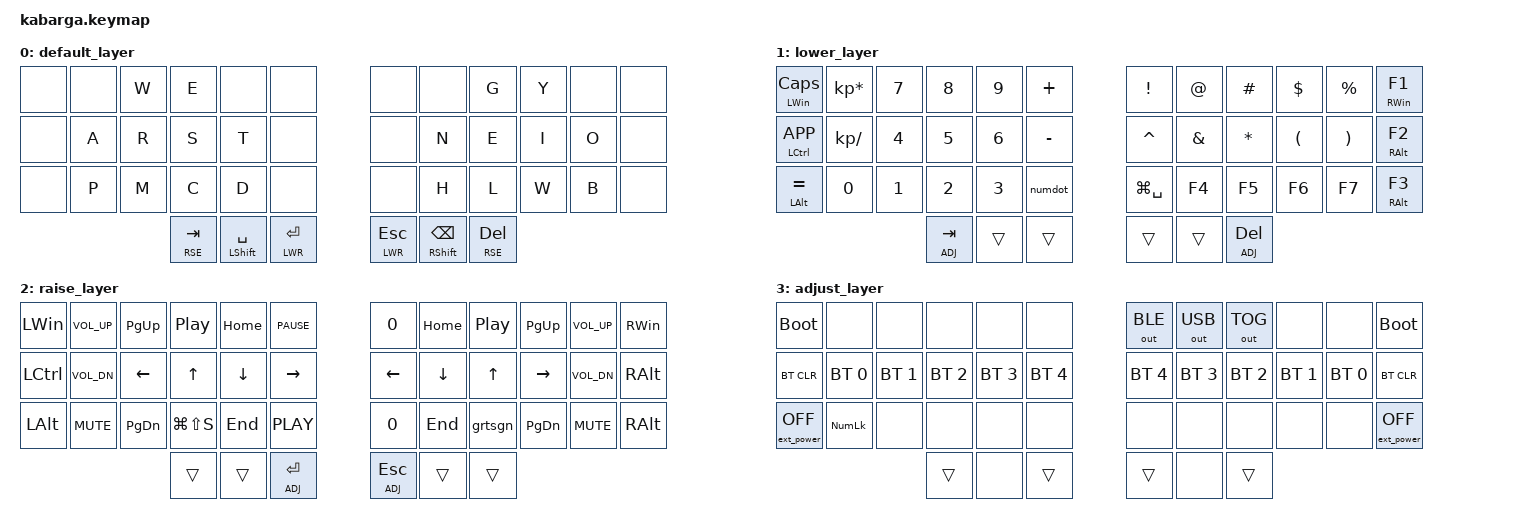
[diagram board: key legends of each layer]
#include <behaviors.dtsi>
#include <dt-bindings/zmk/keys.h>
#include <dt-bindings/zmk/bt.h>
#include <dt-bindings/zmk/outputs.h>
#include <dt-bindings/zmk/ext_power.h>
 
#define DEF 0
#define LWR 1
#define RSE 2
#define ADJ 3

&lt { quick_tap_ms = <220>; };
&mt { quick_tap_ms = <220>; };

/ {
    macros {
        numdot: numdot {
            label = "ZM_numdot";
            compatible = "zmk,behavior-macro";
            #binding-cells = <0>;
            wait-ms = <40>;
            tap-ms = <40>;
            bindings
                = <&macro_press   &kp LALT>    
                , <&macro_tap     &kp KP_N4 &kp KP_N6>    
                , <&macro_release &kp LALT>
                ;
        };
        grtsgn: grtsgn {
            label = "ZM_grtsgn";
            compatible = "zmk,behavior-macro";
            #binding-cells = <0>;
            wait-ms = <40>;
            tap-ms = <40>;
            bindings
                = <&macro_press   &kp LALT>    
                , <&macro_tap     &kp KP_N6 &kp KP_N2>    
                , <&macro_release &kp LALT>
                ;
        };
    };
};
/ {
        keymap {
                compatible = "zmk,keymap";

                default_layer {
// ------------------------------------------------------------------------------------------------
//| ---	| ---    | u      | f      | ---    | ---  |               | ---     | ---      |  g     |  y     | ---    | --- | 
//| --- | sft(a) | cmd(r) | opt(s) | ctl(t) | ---  |               | ---     | clt(n)   | opt(e) | cmd(i) | sft(o) | --- |
//| --- | p      | m      | c      | d      | ---  |               | ---     | h        | l      | w      | b      | --- |
//                                 | del    | osl1 | --- |   | --- | spc/sft | ret/osl4 |

                        bindings = <
  &none &none &kp W &kp E &none &none               &none  &none  &kp G &kp Y &none &none 
  &none &kp A &kp R &kp S &kp T &none               &none  &kp N  &kp E &kp I &kp O &none
  &none &kp P &kp M &kp C &kp D &none               &none  &kp H  &kp L &kp W &kp B &none
  &lt RSE TAB &mt LSHFT SPACE &lt LWR RET           &lt LWR ESC &mt RSHFT BSPC &lt RSE DEL
                        >;
                };
                lower_layer {
// -----------------------------------------------------------------------------------------
//|LGUI/CAPS |  *  |  7 |  8  |  9  |  +  |    |  !  |  @  |  #  |  $  |  %  | RGUI/F1 |
//|CTRL/MENU |  /  |  4 |  5  |  6  |  -  |    |  ^  |  &  |  *  |  (  |  )  | CTRL/F2 |
//|  LALT/=  |  0  |  1 |  4  |  3  |  .  |    |  ls |  F4 |  F5 |  F6 |  F7 | RALT/F3 |
//                      | ADJ | ___ | ___ |    | ___ | ___ | ADJ |

                        bindings = <
 &mt LWIN CAPS   &kp KP_MULTIPLY  &kp N7 &kp N8   &kp N9      &kp PLUS                    &kp EXCL      &kp AT    &kp HASH   &kp DLLR  &kp PRCNT &mt RWIN F1  
 &mt LCTRL K_APP &kp KP_SLASH     &kp N4 &kp N5   &kp N6      &kp MINUS                   &kp CARET     &kp AMPS  &kp STAR   &kp LPAR  &kp RPAR  &mt RALT F2
 &mt LALT EQUAL  &kp N0           &kp N1 &kp N2   &kp N3      &numdot                     &kp LG(SPACE) &kp F4    &kp F5     &kp F6    &kp F7    &mt RALT F3
                                                  &lt ADJ TAB &trans &trans        &trans &trans        &lt ADJ DEL
                        >;
                };
                raise_layer {
// -----------------------------------------------------------------------------------------
//| LGUI |  VOLU  |  PGUP  | PLAY | HOME | ___  |            | ___  | HOME | PLAY| PGUP | VOLU | RGUI |
//| CTRL |  VOLD  |  LEFT  |  UP  | DOWN | RGHT |            | RGHT | DOWN | UP  | LEFT | VOLD | CTRL | 
//| LALT |  MUTE  |  PGDN  |  ___ | END  | ___  |            | ___  | END  | ___ | PGDN | MUTE | RALT |
//                          | ___ | ___  | ADJ  |            | ADJ  | ___  | ___ |

                        bindings = <
&kp LWIN   &kp C_VOL_UP   &kp PG_UP  &kp C_PP       &kp HOME &kp C_PAUSE                                 &kp N0    &kp HOME  &kp C_PP    &kp PG_UP  &kp C_VOL_UP  &kp RWIN
&kp LCTRL  &kp C_VOL_DN   &kp LEFT   &kp UP         &kp DOWN &kp RIGHT                                   &kp LEFT  &kp DOWN  &kp UP      &kp RIGHT  &kp C_VOL_DN  &kp RALT 
&kp LALT   &kp C_MUTE     &kp PG_DN  &kp LG(LS(S))  &kp END  &kp C_PLAY                                  &kp N0    &kp END   &grtsgn      &kp PG_DN  &kp C_MUTE    &kp RALT
                                                    &trans   &trans       &lt ADJ RET        &lt ADJ ESC &trans &trans
                        >; 
                };
                                adjust_layer {
// -----------------------------------------------------------------------------------------
//| BLDR |     |     |     |     |     |   |     |     |     |     |     | BLDR |
//| BTCLR| BT0 | BT1 | BT2 | BT3 | BT4 |   | BT4 | BT3 | BT2 | BT1 | BT0 | BTCLR|
//|pwrOFF|NUMLK|     |     |     |     |   |     |     |     |     |     |      |
//                   |     |     |     |   |     |     |     |

                        bindings = <
&bootloader           &none         &none        &none        &none        &none                             &out OUT_BLE &out OUT_USB &out OUT_TOG &none        &none         &bootloader
&bt BT_CLR            &bt BT_SEL 0  &bt BT_SEL 1 &bt BT_SEL 2 &bt BT_SEL 3 &bt BT_SEL 4                      &bt BT_SEL 4 &bt BT_SEL 3 &bt BT_SEL 2 &bt BT_SEL 1 &bt BT_SEL 0  &bt BT_CLR
&ext_power EP_OFF     &kp KP_NUM    &none        &none        &none        &none                             &none        &none        &none        &none        &none         &ext_power EP_OFF 
                                                              &trans       &none     &trans           &trans &none        &trans
                        >;
                };
        };
};
